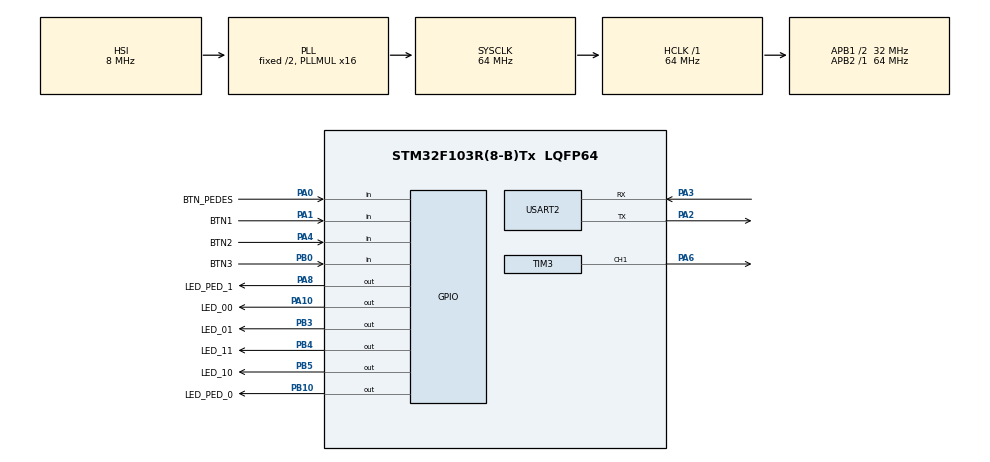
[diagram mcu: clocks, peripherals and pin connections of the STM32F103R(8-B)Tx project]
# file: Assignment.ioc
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Mcu.Family=STM32F1
Mcu.Name=STM32F103R(8-B)Tx
Mcu.Package=LQFP64
NVIC.PriorityGroup=NVIC_PRIORITYGROUP_4
NVIC.TIM2_IRQn=true\:0\:0\:false\:false\:true\:true\:true
NVIC.USART2_IRQn=true\:0\:0\:false\:false\:true\:true\:true
PA0-WKUP.GPIO_Label=BTN_PEDES
PA0-WKUP.Signal=GPIO_Input
PA1.GPIO_Label=BTN1
PA1.Signal=GPIO_Input
PA10.GPIO_Label=LED_00
PA10.Signal=GPIO_Output
PA13.Mode=Serial_Wire
PA13.Signal=SYS_JTMS-SWDIO
PA14.Mode=Serial_Wire
PA14.Signal=SYS_JTCK-SWCLK
PA2.Mode=Asynchronous
PA2.Signal=USART2_TX
PA3.Mode=Asynchronous
PA3.Signal=USART2_RX
PA4.GPIO_Label=BTN2
PA4.Signal=GPIO_Input
PA6.Signal=S_TIM3_CH1
PA8.GPIO_Label=LED_PED_1
PA8.Signal=GPIO_Output
PB0.GPIO_Label=BTN3
PB0.Signal=GPIO_Input
PB10.GPIO_Label=LED_PED_0
PB10.Signal=GPIO_Output
PB3.GPIO_Label=LED_01
PB3.Signal=GPIO_Output
PB4.GPIO_Label=LED_11
PB4.Signal=GPIO_Output
PB5.GPIO_Label=LED_10
PB5.Signal=GPIO_Output
ProjectManager.HeapSize=0x200
ProjectManager.StackSize=0x400
ProjectManager.TargetToolchain=STM32CubeIDE
RCC.AHBFreq_Value=64000000
RCC.APB1CLKDivider=RCC_HCLK_DIV2
RCC.APB1Freq_Value=32000000
RCC.APB1TimFreq_Value=64000000
RCC.APB2Freq_Value=64000000
RCC.APB2TimFreq_Value=64000000
RCC.HCLKFreq_Value=64000000
RCC.PLLMUL=RCC_PLL_MUL16
RCC.SYSCLKFreq_VALUE=64000000
RCC.SYSCLKSource=RCC_SYSCLKSOURCE_PLLCLK
RCC.USBFreq_Value=64000000
SH.S_TIM3_CH1.0=TIM3_CH1,PWM Generation1 CH1
TIM2.Period=99
TIM2.Prescaler=7999
TIM3.Channel-PWM\ Generation1\ CH1=TIM_CHANNEL_1
TIM3.Period=79
TIM3.Prescaler=79
USART2.VirtualMode=VM_ASYNC
VP_TIM2_VS_ClockSourceINT.Mode=Internal
VP_TIM3_VS_ClockSourceINT.Mode=Internal
board=custom

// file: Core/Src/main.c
/* USER CODE BEGIN Header */
/**
  ******************************************************************************
  * @file           : main.c
  * @brief          : Main program body
  ******************************************************************************
  * @attention
  *
  * <h2><center>&copy; Copyright (c) 2023 STMicroelectronics.
  * All rights reserved.</center></h2>
  *
  * This software component is licensed by ST under BSD 3-Clause license,
  * the "License"; You may not use this file except in compliance with the
  * License. You may obtain a copy of the License at:
  *                        opensource.org/licenses/BSD-3-Clause
  *
  ******************************************************************************
  */
/* USER CODE END Header */
#include "main.h"

/* USER CODE BEGIN Includes */
#include "input_reading.h"
#include <mode_auto.h>
#include <mode_manual.h>
#include <mode_Pedestrian.h>
#include "global.h"
#include "scheduler.h"
/* USER CODE END Includes */

TIM_HandleTypeDef htim2;
TIM_HandleTypeDef htim3;

UART_HandleTypeDef huart2;

void SystemClock_Config(void);
static void MX_TIM2_Init(void);
static void MX_GPIO_Init(void);
static void MX_TIM3_Init(void);
static void MX_USART2_UART_Init(void);

/* USER CODE BEGIN 0 */
void fsm()
{
	auto_mode();
	manual_mode();
	Pedestrian_behavior();
}
/* USER CODE END 0 */

int main(void)
{

  /* MCU Configuration--------------------------------------------------------*/

  /* Reset of all peripherals, Initializes the Flash interface and the Systick. */
  HAL_Init();

  /* Configure the system clock */
  SystemClock_Config();

  /* Initialize all configured peripherals */
  MX_TIM2_Init();
  MX_GPIO_Init();
  MX_TIM3_Init();
  MX_USART2_UART_Init();
  /* USER CODE BEGIN 2 */
  HAL_TIM_Base_Start_IT(&htim2);
  HAL_TIM_PWM_Start(&htim3, TIM_CHANNEL_1);
  /* USER CODE END 2 */

  /* Infinite loop */
  /* USER CODE BEGIN WHILE */
  SCH_Add_Task(fsm, 20, 50);
  SCH_Add_Task(button_reading, 20, 50);

  while (1)
  {
    /* USER CODE END WHILE */
	  SCH_Dispatch_Tasks();
  }
}

void SystemClock_Config(void)
{
  RCC_OscInitTypeDef RCC_OscInitStruct = {0};
  RCC_ClkInitTypeDef RCC_ClkInitStruct = {0};

  /** Initializes the RCC Oscillators according to the specified parameters
  * in the RCC_OscInitTypeDef structure.
  */
  RCC_OscInitStruct.OscillatorType = RCC_OSCILLATORTYPE_HSI;
  RCC_OscInitStruct.HSIState = RCC_HSI_ON;
  RCC_OscInitStruct.HSICalibrationValue = RCC_HSICALIBRATION_DEFAULT;
  RCC_OscInitStruct.PLL.PLLState = RCC_PLL_ON;
  RCC_OscInitStruct.PLL.PLLSource = RCC_PLLSOURCE_HSI_DIV2;
  RCC_OscInitStruct.PLL.PLLMUL = RCC_PLL_MUL16;
  if (HAL_RCC_OscConfig(&RCC_OscInitStruct) != HAL_OK)
  {
    Error_Handler();
  }
  /** Initializes the CPU, AHB and APB buses clocks
  */
  RCC_ClkInitStruct.ClockType = RCC_CLOCKTYPE_HCLK|RCC_CLOCKTYPE_SYSCLK
                              |RCC_CLOCKTYPE_PCLK1|RCC_CLOCKTYPE_PCLK2;
  RCC_ClkInitStruct.SYSCLKSource = RCC_SYSCLKSOURCE_PLLCLK;
  RCC_ClkInitStruct.AHBCLKDivider = RCC_SYSCLK_DIV1;
  RCC_ClkInitStruct.APB1CLKDivider = RCC_HCLK_DIV2;
  RCC_ClkInitStruct.APB2CLKDivider = RCC_HCLK_DIV1;

  if (HAL_RCC_ClockConfig(&RCC_ClkInitStruct, FLASH_LATENCY_2) != HAL_OK)
  {
    Error_Handler();
  }
}

static void MX_TIM2_Init(void)
{

  TIM_ClockConfigTypeDef sClockSourceConfig = {0};
  TIM_MasterConfigTypeDef sMasterConfig = {0};

  htim2.Instance = TIM2;
  htim2.Init.Prescaler = 7999;
  htim2.Init.CounterMode = TIM_COUNTERMODE_UP;
  htim2.Init.Period = 99;
  htim2.Init.ClockDivision = TIM_CLOCKDIVISION_DIV1;
  htim2.Init.AutoReloadPreload = TIM_AUTORELOAD_PRELOAD_DISABLE;
  if (HAL_TIM_Base_Init(&htim2) != HAL_OK)
  {
    Error_Handler();
  }
  sClockSourceConfig.ClockSource = TIM_CLOCKSOURCE_INTERNAL;
  if (HAL_TIM_ConfigClockSource(&htim2, &sClockSourceConfig) != HAL_OK)
  {
    Error_Handler();
  }
  sMasterConfig.MasterOutputTrigger = TIM_TRGO_RESET;
  sMasterConfig.MasterSlaveMode = TIM_MASTERSLAVEMODE_DISABLE;
  if (HAL_TIMEx_MasterConfigSynchronization(&htim2, &sMasterConfig) != HAL_OK)
  {
    Error_Handler();
  }

}

static void MX_TIM3_Init(void)
{

  TIM_ClockConfigTypeDef sClockSourceConfig = {0};
  TIM_MasterConfigTypeDef sMasterConfig = {0};
  TIM_OC_InitTypeDef sConfigOC = {0};

  htim3.Instance = TIM3;
  htim3.Init.Prescaler = 79;
  htim3.Init.CounterMode = TIM_COUNTERMODE_UP;
  htim3.Init.Period = 79;
  htim3.Init.ClockDivision = TIM_CLOCKDIVISION_DIV1;
  htim3.Init.AutoReloadPreload = TIM_AUTORELOAD_PRELOAD_DISABLE;
  if (HAL_TIM_Base_Init(&htim3) != HAL_OK)
  {
    Error_Handler();
  }
  sClockSourceConfig.ClockSource = TIM_CLOCKSOURCE_INTERNAL;
  if (HAL_TIM_ConfigClockSource(&htim3, &sClockSourceConfig) != HAL_OK)
  {
    Error_Handler();
  }
  if (HAL_TIM_PWM_Init(&htim3) != HAL_OK)
  {
    Error_Handler();
  }
  sMasterConfig.MasterOutputTrigger = TIM_TRGO_RESET;
  sMasterConfig.MasterSlaveMode = TIM_MASTERSLAVEMODE_DISABLE;
  if (HAL_TIMEx_MasterConfigSynchronization(&htim3, &sMasterConfig) != HAL_OK)
  {
    Error_Handler();
  }
  sConfigOC.OCMode = TIM_OCMODE_PWM1;
  sConfigOC.Pulse = 0;
  sConfigOC.OCPolarity = TIM_OCPOLARITY_HIGH;
  sConfigOC.OCFastMode = TIM_OCFAST_DISABLE;
  if (HAL_TIM_PWM_ConfigChannel(&htim3, &sConfigOC, TIM_CHANNEL_1) != HAL_OK)
  {
    Error_Handler();
  }
  HAL_TIM_MspPostInit(&htim3);

}

static void MX_USART2_UART_Init(void)
{

  huart2.Instance = USART2;
  huart2.Init.BaudRate = 115200;
  huart2.Init.WordLength = UART_WORDLENGTH_8B;
  huart2.Init.StopBits = UART_STOPBITS_1;
  huart2.Init.Parity = UART_PARITY_NONE;
  huart2.Init.Mode = UART_MODE_TX_RX;
  huart2.Init.HwFlowCtl = UART_HWCONTROL_NONE;
  huart2.Init.OverSampling = UART_OVERSAMPLING_16;
  if (HAL_UART_Init(&huart2) != HAL_OK)
  {
    Error_Handler();
  }

}

static void MX_GPIO_Init(void)
{
  GPIO_InitTypeDef GPIO_InitStruct = {0};

  /* GPIO Ports Clock Enable */
  __HAL_RCC_GPIOA_CLK_ENABLE();
  __HAL_RCC_GPIOB_CLK_ENABLE();

  /*Configure GPIO pin Output Level */
  HAL_GPIO_WritePin(GPIOB, LED_PED_0_Pin|LED_01_Pin|LED_11_Pin|LED_10_Pin, GPIO_PIN_RESET);

  /*Configure GPIO pin Output Level */
  HAL_GPIO_WritePin(GPIOA, LED_PED_1_Pin|LED_00_Pin, GPIO_PIN_RESET);

  /*Configure GPIO pins : BTN_PEDES_Pin BTN1_Pin BTN2_Pin */
  GPIO_InitStruct.Pin = BTN_PEDES_Pin|BTN1_Pin|BTN2_Pin;
  GPIO_InitStruct.Mode = GPIO_MODE_INPUT;
  GPIO_InitStruct.Pull = GPIO_NOPULL;
  HAL_GPIO_Init(GPIOA, &GPIO_InitStruct);

  /*Configure GPIO pin : BTN3_Pin */
  GPIO_InitStruct.Pin = BTN3_Pin;
  GPIO_InitStruct.Mode = GPIO_MODE_INPUT;
  GPIO_InitStruct.Pull = GPIO_NOPULL;
  HAL_GPIO_Init(BTN3_GPIO_Port, &GPIO_InitStruct);

  /*Configure GPIO pins : LED_PED_0_Pin LED_01_Pin LED_11_Pin LED_10_Pin */
  GPIO_InitStruct.Pin = LED_PED_0_Pin|LED_01_Pin|LED_11_Pin|LED_10_Pin;
  GPIO_InitStruct.Mode = GPIO_MODE_OUTPUT_PP;
  GPIO_InitStruct.Pull = GPIO_NOPULL;
  GPIO_InitStruct.Speed = GPIO_SPEED_FREQ_LOW;
  HAL_GPIO_Init(GPIOB, &GPIO_InitStruct);

  /*Configure GPIO pins : LED_PED_1_Pin LED_00_Pin */
  GPIO_InitStruct.Pin = LED_PED_1_Pin|LED_00_Pin;
  GPIO_InitStruct.Mode = GPIO_MODE_OUTPUT_PP;
  GPIO_InitStruct.Pull = GPIO_NOPULL;
  GPIO_InitStruct.Speed = GPIO_SPEED_FREQ_LOW;
  HAL_GPIO_Init(GPIOA, &GPIO_InitStruct);

}

/* USER CODE BEGIN 4 */
void HAL_TIM_PeriodElapsedCallback(TIM_HandleTypeDef *htim)
{
	SCH_Update();
}
/* USER CODE END 4 */

void Error_Handler(void)
{
  __disable_irq();
  while (1)
  {
  }
}

/************************ (C) COPYRIGHT STMicroelectronics *****END OF FILE****/
